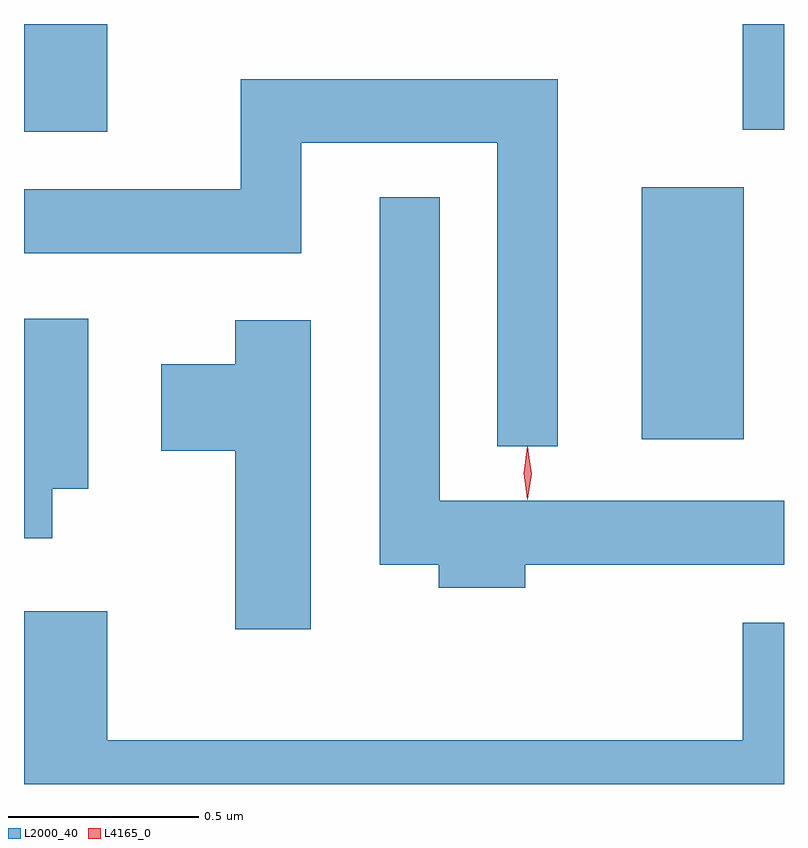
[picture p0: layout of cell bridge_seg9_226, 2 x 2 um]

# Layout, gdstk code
import gdstk
lib = gdstk.Library(unit=1e-6, precision=1e-09)
def R(c, l, rs):  # rectangles x0, y0, x1, y1
    for r in rs: c.add(gdstk.rectangle(r[:2], r[2:], *l))
def P(c, l, *ps):  # polygons
    for p in ps: c.add(gdstk.Polygon(p, *l))
L2000_40 = (2000, 40)
L4165_0 = (4165, 0)

bridge_seg9_226 = lib.new_cell('bridge_seg9_226')
R(bridge_seg9_226, L2000_40, [(1479.546,1988.436,1479.814,1989.099), (1477.92,1989.246,1478.139,1989.529), (1479.811,1989.251,1479.92,1989.529)])
P(bridge_seg9_226, L2000_40, [(1479.324,1989.384),(1478.491,1989.384),(1478.491,1989.094),(1477.92,1989.094),(1477.92,1988.926),(1478.649,1988.926),(1478.649,1989.216),(1479.166,1989.216),(1479.166,1988.418),(1479.324,1988.418)],
  [(1479.239,1988.106),(1479.92,1988.106),(1479.92,1988.274),(1479.014,1988.274),(1479.014,1989.073),(1478.856,1989.073),(1478.856,1988.106),(1479.011,1988.106),(1479.011,1988.046),(1479.239,1988.046)],
  [(1477.994,1988.306),(1478.089,1988.306),(1478.089,1988.754),(1477.92,1988.754),(1477.92,1988.176),(1477.994,1988.176)],
  [(1478.674,1988.749),(1478.476,1988.749),(1478.476,1988.634),(1478.281,1988.634),(1478.281,1988.406),(1478.476,1988.406),(1478.476,1987.936),(1478.674,1987.936)],
  [(1479.92,1987.954),(1479.811,1987.954),(1479.811,1987.644),(1478.139,1987.644),(1478.139,1987.984),(1477.92,1987.984),(1477.92,1987.529),(1479.92,1987.529)])
P(bridge_seg9_226, L4165_0, [(1479.245,1988.277),(1479.244,1988.278),(1479.235,1988.347),(1479.244,1988.416),(1479.245,1988.416),(1479.245,1988.416),(1479.255,1988.347),(1479.245,1988.278)],
  [(1479.246,1988.279),(1479.245,1988.28),(1479.236,1988.346),(1479.245,1988.412),(1479.246,1988.413),(1479.246,1988.412),(1479.256,1988.346),(1479.246,1988.28)])

lib.write_gds('bridge_seg9_226.gds')
